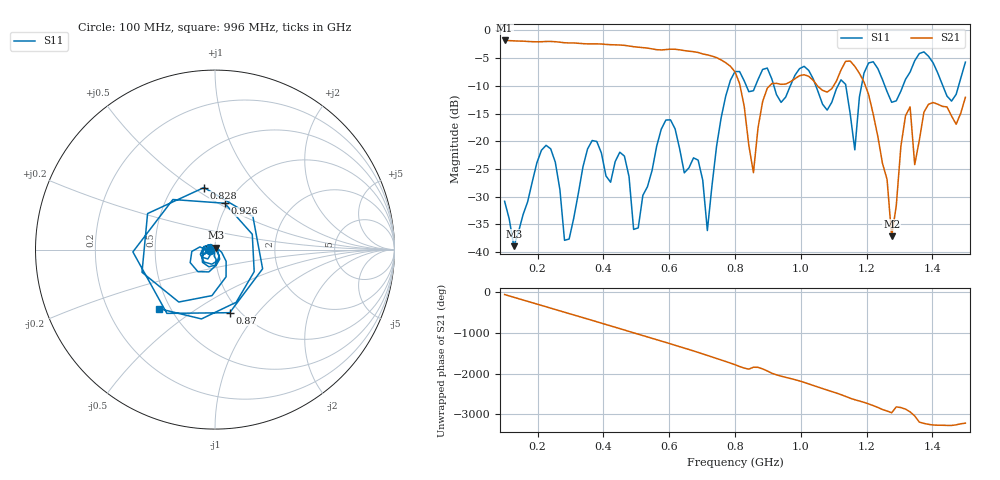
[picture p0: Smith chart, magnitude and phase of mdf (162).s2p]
! NanoVNA-App
! Date: 2025-09-25 15:39:41
! Start: 100MHz Stop: 1,5GHz Points: 101
! S-Parameter data: F S11 S21 S12 S22
# Hz S RI R 50
!  Frequency  S11_Real  S11_Imag  S21_Real  S21_Imag  S12_Real  S12_Imag  S22_Real  S22_Imag
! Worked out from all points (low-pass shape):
!   101 points, 100 MHz to 1.5 GHz, reference 50 ohm
!   highest |S21| = -1.80 dB at 100 MHz (marker M1); lowest = -37.1 dB at 1.276 GHz (marker M2)
!   |S21| within 3 dB of the highest: start of sweep to 739.1 MHz
!   lowest |S11| = -38.9 dB at 128 MHz (marker M3), VSWR 1.02, Z = 50.4 + j1.08 ohm
!   |S11| at or under -10 dB: start of sweep to 781 MHz; 1.046 GHz to 1.113 GHz (66.91 MHz wide, 6.2 % of centre); 1.255 GHz to 1.31 GHz (54.91 MHz wide, 4.28 % of centre) (the widest 3 of 7)
!   S12 and S22 are empty: the file has one direction only
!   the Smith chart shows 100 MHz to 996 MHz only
!   S11 on the Smith chart (normalised r, x): 100 MHz: 0.94, -0.01; 828 MHz: 0.70, +0.55; 870 MHz: 0.90, -0.73; 926 MHz: 0.97, +0.54; 996 MHz: 0.44, -0.36
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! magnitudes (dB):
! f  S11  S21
! 100 MHz  -30.8  -1.8
! 128 MHz  -38.9  -1.9
! 212 MHz  -21.6  -2.0
! 282 MHz  -37.9  -2.2
! 338 MHz  -24.6  -2.4
! 464 MHz  -22.7  -2.7
! 506 MHz  -35.6  -3.0
! 576 MHz  -17.8  -3.5
! 716 MHz  -36.1  -4.4
! 800 MHz  -7.4  -7.5
! 828 MHz  -9.1  -13.7
! 856 MHz  -10.9  -25.7
! 870 MHz  -8.9  -17.5
! 926 MHz  -11.6  -9.5
! 996 MHz  -6.9  -8.2
! 1.038 GHz  -8.8  -9.0
! 1.164 GHz  -21.5  -6.5
! 1.192 GHz  -7.7  -9.3
! 1.276 GHz  -13.0  -37.1
! 1.332 GHz  -7.5  -13.8
! 1.346 GHz  -5.5  -24.2
! 1.5 GHz  -5.7  -12.1
